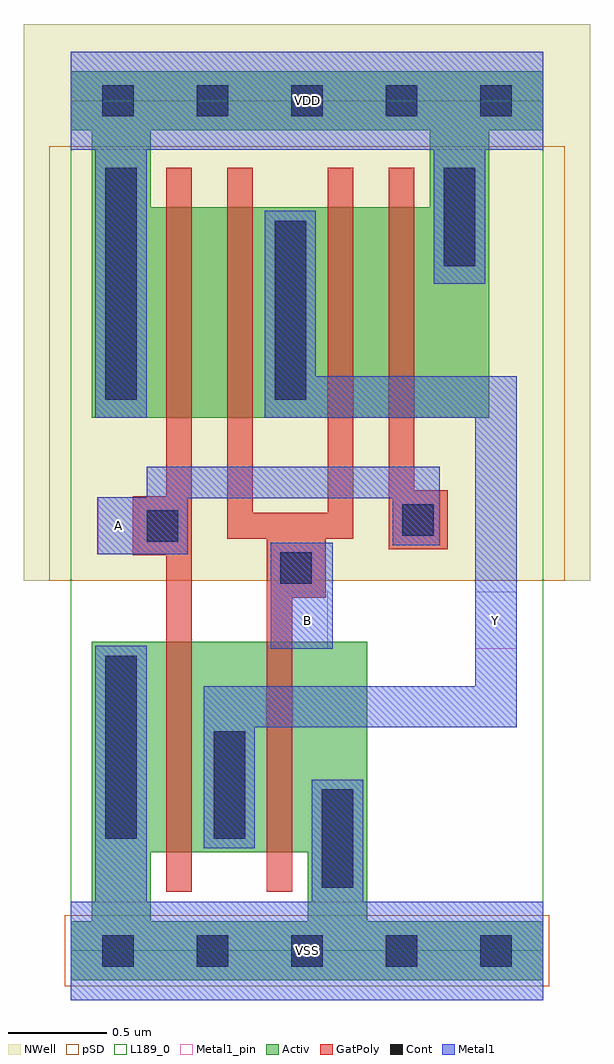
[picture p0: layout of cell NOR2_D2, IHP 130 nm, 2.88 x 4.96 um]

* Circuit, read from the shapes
.subckt NOR2_D2 A B VDD VSS Y
XM1 Y A VSS VSS sg13_lv_nmos w=1.07u l=0.13u
XM2 VSS B Y VSS sg13_lv_nmos w=1.07u l=0.13u
XM3 n1 A VDD VDD sg13_lv_pmos w=1.07u l=0.13u
XM4 Y B n1 VDD sg13_lv_pmos w=1.07u l=0.13u
XM5 n2 B Y VDD sg13_lv_pmos w=1.07u l=0.13u
XM6 VDD A n2 VDD sg13_lv_pmos w=1.07u l=0.13u
.ends

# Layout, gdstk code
import gdstk
lib = gdstk.Library(unit=1e-6, precision=1e-09)
def R(c, l, rs):  # rectangles x0, y0, x1, y1
    for r in rs: c.add(gdstk.rectangle(r[:2], r[2:], *l))
def A(c, l, x, y, w, h, nx, ny, dx, dy):  # array of equal rectangles
    R(c, l, [(x+i*dx, y+j*dy, x+i*dx+w, y+j*dy+h) for i in range(nx) for j in range(ny)])
def P(c, l, *ps):  # polygons
    for p in ps: c.add(gdstk.Polygon(p, *l))
Activ = (1, 0)
GatPoly = (5, 0)
Cont = (6, 0)
Metal1 = (8, 0)
Metal1_pin = (8, 2)
pSD = (14, 0)
NWell = (31, 0)
L189_0 = (189, 0)

nor2_d2 = lib.new_cell('NOR2_D2')
P(nor2_d2, Activ, [(0,-0.15),(0,0.15),(0.105,0.15),(0.105,0.5),(0.405,0.5),(0.405,0.15),(1.205,0.15),(1.205,0.5),(0.105,0.5),(0.105,1.57),(1.505,1.57),(1.505,0.15),(2.4,0.15),(2.4,-0.15)],
  [(0.105,2.71),(0.105,4.17),(0.405,4.17),(0.405,3.78),(1.825,3.78),(1.825,4.17),(0,4.17),(0,4.47),(2.4,4.47),(2.4,4.17),(2.125,4.17),(2.125,2.71)])
P(nor2_d2, GatPoly, [(0.485,0.3),(0.485,2.01),(0.315,2.01),(0.315,2.31),(0.485,2.31),(0.485,3.98),(0.615,3.98),(0.615,0.3)],
  [(0.995,0.3),(0.995,2.095),(0.795,2.095),(0.795,3.98),(0.925,3.98),(0.925,2.225),(1.305,2.225),(1.305,3.98),(1.435,3.98),(1.435,2.095),(1.295,2.095),(1.295,1.795),(1.125,1.795),(1.125,0.3)],
  [(1.615,2.04),(1.615,3.98),(1.745,3.98),(1.745,2.34),(1.915,2.34),(1.915,2.04)])
A(nor2_d2, Cont, 0.16, -0.08, 0.16, 0.16, 5, 2, 0.48, 4.32)
R(nor2_d2, Cont, [(1.275,0.32,1.435,0.82), (0.175,0.57,0.335,1.5), (0.725,0.57,0.885,1.115), (1.065,1.865,1.225,2.025), (0.385,2.08,0.545,2.24), (1.685,2.11,1.845,2.27), (0.175,2.8,0.335,3.98), (1.035,2.8,1.195,3.71), (1.895,3.48,2.055,3.98)])
R(nor2_d2, Metal1, [(1.015,1.535,1.33,2.075)])
P(nor2_d2, Metal1, [(0,-0.25),(0,0.25),(0.125,0.25),(0.125,1.55),(0.385,1.55),(0.385,0.25),(1.225,0.25),(1.225,0.87),(1.485,0.87),(1.485,0.25),(2.4,0.25),(2.4,-0.25)],
  [(0.135,2.015),(0.135,2.305),(0.385,2.305),(0.385,2.46),(1.875,2.46),(1.875,2.06),(1.635,2.06),(1.635,2.3),(0.595,2.3),(0.595,2.015)],
  [(0.675,0.52),(0.675,1.345),(2.055,1.345),(2.055,2.71),(0.985,2.71),(0.985,3.76),(1.245,3.76),(1.245,2.92),(2.265,2.92),(2.265,1.135),(0.935,1.135),(0.935,0.52)],
  [(0.125,2.71),(0.125,4.07),(0,4.07),(0,4.57),(2.4,4.57),(2.4,4.07),(2.105,4.07),(2.105,3.39),(1.845,3.39),(1.845,4.07),(0.385,4.07),(0.385,2.71)])
R(nor2_d2, Metal1_pin, [(0,-0.25,2.4,0.25), (1.095,1.535,1.305,1.825), (2.055,1.535,2.265,1.825), (0.14,2.015,0.345,2.305), (0,4.07,2.4,4.57)])
R(nor2_d2, pSD, [(-0.03,-0.18,2.43,0.18), (-0.11,1.88,2.51,4.09)])
R(nor2_d2, NWell, [(-0.24,1.88,2.64,4.71)])
R(nor2_d2, L189_0, [(0,0,2.4,4.32)])
nor2_d2.add(gdstk.Label('VSS', (1.2,0), layer=8, texttype=25))
nor2_d2.add(gdstk.Label('Y', (2.16,1.68), layer=8, texttype=25))
nor2_d2.add(gdstk.Label('B', (1.2,1.68), layer=8, texttype=25))
nor2_d2.add(gdstk.Label('A', (0.24,2.16), layer=8, texttype=25))
nor2_d2.add(gdstk.Label('VDD', (1.2,4.32), layer=8, texttype=25))

lib.write_gds('NOR2_D2.gds')
